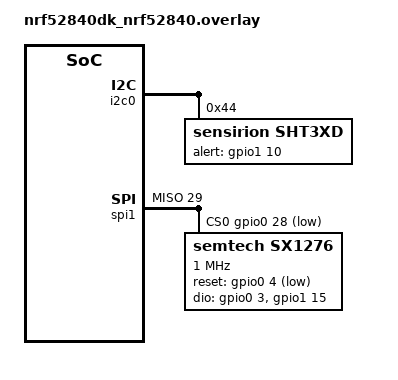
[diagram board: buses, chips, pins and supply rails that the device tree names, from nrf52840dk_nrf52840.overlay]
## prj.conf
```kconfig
#
# Copyright (c) 2019 Nordic Semiconductor ASA
#
# SPDX-License-Identifier: LicenseRef-BSD-5-Clause-Nordic
#
CONFIG_NCS_SAMPLES_DEFAULTS=y

# General configuration
CONFIG_SYSTEM_WORKQUEUE_STACK_SIZE=2048
CONFIG_FLASH=y
CONFIG_FLASH_MAP=y
#CONFIG_FCB=y
CONFIG_NVS=y
CONFIG_SETTINGS=y
CONFIG_HWINFO=y
CONFIG_LOG=y
CONFIG_LOG_PRINTK=y

CONFIG_DK_LIBRARY=y
CONFIG_BT_MESH_DK_PROV=y

# Bluetooth configuration
CONFIG_BT=y
CONFIG_BT_COMPANY_ID=0x0059
CONFIG_BT_DEVICE_NAME="LoRa Temp.Hum. Sensor"
CONFIG_BT_L2CAP_RX_MTU=69
CONFIG_BT_L2CAP_TX_MTU=69
CONFIG_BT_L2CAP_TX_BUF_COUNT=8
CONFIG_BT_LL_SW_SPLIT=y
CONFIG_BT_OBSERVER=y
CONFIG_BT_PERIPHERAL=y
CONFIG_BT_SETTINGS=y

# Disable unused Bluetooth features
CONFIG_BT_CTLR_DUP_FILTER_LEN=0
CONFIG_BT_CTLR_LE_ENC=n
CONFIG_BT_DATA_LEN_UPDATE=n
CONFIG_BT_PHY_UPDATE=n
CONFIG_BT_CTLR_CHAN_SEL_2=n
CONFIG_BT_CTLR_MIN_USED_CHAN=n
CONFIG_BT_CTLR_PRIVACY=n

# Bluetooth Mesh configuration
CONFIG_BT_MESH=y
CONFIG_BT_MESH_RELAY=y
CONFIG_BT_MESH_FRIEND=y
CONFIG_BT_MESH_LOW_POWER=n
CONFIG_BT_MESH_LPN_AUTO=n
CONFIG_BT_MESH_LPN_AUTO_TIMEOUT=5
CONFIG_BT_MESH_ADV_BUF_COUNT=13
CONFIG_BT_MESH_TX_SEG_MAX=10
CONFIG_BT_MESH_PB_GATT=y
CONFIG_BT_MESH_GATT_PROXY=n

# Bluetooth Mesh models
CONFIG_BT_MESH_SENSOR_SRV=y

# Power Managment Device
#CONFIG_PM=y
#CONFIG_PM_DEEP_SLEEP_STATES=y
#CONFIG_PM_STATE_LOCK=y
#CONFIG_SERIAL=n

# For NRF Dongle over SWD Flashing
CONFIG_BOARD_HAS_NRF5_BOOTLOADER=y

# I2C SHT3xd Sensor
CONFIG_STDOUT_CONSOLE=y
CONFIG_NEWLIB_LIBC=y
CONFIG_NEWLIB_LIBC_FLOAT_PRINTF=y
CONFIG_I2C=y
CONFIG_SENSOR=y
CONFIG_SHT3XD=y




# LoRa Stuff
CONFIG_LOG=y
CONFIG_SPI=y
CONFIG_GPIO=y
CONFIG_LORA=y
CONFIG_LORA_SX12XX=y
CONFIG_PRINTK=y
```

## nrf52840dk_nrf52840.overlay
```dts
&i2c0 { /* SDA P0.26, SCL P0.27, ALERT P1.10 */
	sht3xd@44 {
		compatible = "sensirion,sht3xd";
		reg = <0x44>;
		label = "SHT3XD";
		alert-gpios = <&gpio1 10 GPIO_ACTIVE_HIGH>;
	};
};

&spi1 {
   status = "okay";
   miso-pin = <29>;
   cs-gpios = <&gpio0 28 GPIO_ACTIVE_LOW>;

      lora: sx1276@0 {
       compatible = "semtech,sx1276";
       reg = <0>;
       label = "sx1276";
       reset-gpios = <&gpio0 4 GPIO_ACTIVE_LOW>;
       dio-gpios = <&gpio0 3 (GPIO_PULL_DOWN | GPIO_ACTIVE_HIGH)>,<&gpio1 15 (GPIO_PULL_DOWN | GPIO_ACTIVE_HIGH)>;
       spi-max-frequency = <1000000>;
       power-amplifier-output = "pa-boost";
   };

};

/ {
   aliases {
      lora0 = &lora;
 };
};
```

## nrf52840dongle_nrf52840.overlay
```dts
&i2c0 { /* SDA P0.13, SCL P0.15, ALERT P0.17 */

	sda-pin = <13>;
	scl-pin = <15>;

	sht3xd@44 {
		compatible = "sensirion,sht3xd";
		reg = <0x44>;
		label = "SHT3XD";
		alert-gpios = <&gpio0 17 GPIO_ACTIVE_HIGH>;
	};
};

&spi1 {
   status = "okay";
   	sck-pin = <47>; /* 1.15 */
	mosi-pin = <2>;
	miso-pin = <29>;
	cs-gpios = <&gpio1 13 GPIO_ACTIVE_LOW>; /* 1.13 */

      lora: sx1276@0 {
       compatible = "semtech,sx1276";
       reg = <0>;
       label = "sx1276";
       reset-gpios = <&gpio0 31 GPIO_ACTIVE_LOW>;
       dio-gpios = <&gpio1 10 (GPIO_PULL_DOWN | GPIO_ACTIVE_HIGH)>,<&gpio0 10 (GPIO_PULL_DOWN | GPIO_ACTIVE_HIGH)>;
       spi-max-frequency = <1000000>;
       power-amplifier-output = "pa-boost";
   };

};

/ {
   aliases {
      lora0 = &lora;
 };
};
```

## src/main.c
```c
#include "bm_config.h"
#include "bm_blemesh.h"
#include "bm_simple_buttons_and_leds.h"
#include "bm_sht3x.h"
#include "bm_lora.h"
#include <zephyr.h>

#include <drivers/sensor.h>

struct sensor_value temp;
struct sensor_value hum;

struct LORA_PDU
{
	double temp;
	double hum;
} __attribute__((packed)) lora_pdu; // Attribute informing compiler to pack all members to 8bits or 1byte



/**@brief Function for application main entry.
 */
void main(void)
{
  // Start Application
  printk("Starting Application...\n");
  // Init MAC Address
  uint32_t LSB_MAC_Address = NRF_FICR->DEVICEADDR[0];
  printk("Preprogrammed Randomly Static MAC-Address (LSB): 0x%x, %u \n", LSB_MAC_Address, LSB_MAC_Address);
  /* --------------- Init Board ------------*/
  printk("Init Buttons and LEDs...\n");
  bm_init_leds();
  printk("Buttons and LEDs initialized\n");
  printk("Init SHT3xd Sensor\n");
  sht3x_init();
  printk("Init LoRa\n");
  bm_lora_init();

  /* ===================================*/

  // Start Mesh Operation
  bm_blemesh_enable(); // Will return faster than the Stack is realy ready... keep on waiting in the transition.

  // Read out Sensor Values and Publish them over Lora
  while (true)
  {

   sht3x_temp_hum_get(&temp,&hum);

   lora_pdu.temp = sensor_value_to_double(&temp);
   lora_pdu.hum = sensor_value_to_double(&hum);

   bm_lora_send(&lora_pdu,sizeof(lora_pdu));

		k_sleep(K_MSEC(30000));
  }
}
```

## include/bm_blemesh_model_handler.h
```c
/*
This file is part of Bluetooth-Benchamrk.

Bluetooth-Benchamrk is free software: you can redistribute it and/or modify
it under the terms of the GNU General Public License as published by
the Free Software Foundation, either version 3 of the License, or
(at your option) any later version.

Bluetooth-Benchamrk is distributed in the hope that it will be useful,
but WITHOUT ANY WARRANTY; without even the implied warranty of
MERCHANTABILITY or FITNESS FOR A PARTICULAR PURPOSE.  See the
GNU General Public License for more details.

You should have received a copy of the GNU General Public License
along with Bluetooth-Benchamrk.  If not, see <http://www.gnu.org/licenses/>.
*/

/* AUTHOR 	 :    Raffael Anklin       */


#ifndef MODEL_HANDLER_H__
#define MODEL_HANDLER_H__



#ifdef __cplusplus
extern "C" {
#endif



const struct bt_mesh_comp *bm_blemesh_model_handler_init(void);


#ifdef __cplusplus
}
#endif

#endif /* MODEL_HANDLER_H__ */
```

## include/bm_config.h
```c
#ifdef __cplusplus
extern "C" {
#endif

#ifndef BM_CONFIG_H
#define BM_CONFIG_H

#include <stdint.h>
#include <stdbool.h>

// Change the following to switch the Protokoll Stack and SDK
//#define NRF_SDK_Zigbee
#define ZEPHYR_BLE_MESH

/* =============== Time Sync ===================== */
extern uint32_t LSB_MAC_Address; // LSB of Randomly Static Assigned MAC Address

/* =============== Benchmark Parameters ===================== */
// Change the following to switch the Protokoll Stack and SDK
//#define BENCHMARK_SERVER                 /* Node is Benchmark Server */
//#define BENCHMARK_CLIENT                 /* Node is Benchmark Client */
#define BENCHMARK_MASTER                 /* Node is Benchmark Master and automatically Time Master */
#define BENCHMARK_DEFAULT_TIME_S 10      // Default Benchmark Time (used when no Parameter available)
#define BENCHMARK_DEFAULT_PACKETS_CNT 10 // Default Benchmark Packet Count (used when no Parameter available)

typedef struct
{
  uint16_t benchmark_time_s;
  uint16_t benchmark_packet_cnt;
  uint8_t GroupAddress;
  uint8_t Node_Id;
  uint16_t AdditionalPayloadSize;
  uint32_t DestMAC_1; // Zigbee Directed Destination 1
  uint32_t DestMAC_2; // Zigbee Directed Destination 2
  uint32_t DestMAC_3; // Zigbee Directed Destination 3
  bool Ack; // 0 = Not Acknowledged / 1 = Ack
  bool benchmark_Traffic_Generation_Mode; // 0 = Random, 1 = Sequentialy
} bm_params_t;
extern bm_params_t bm_params, bm_params_buf; // The Buffer store changes while a benchmark is active. 

/* =============== Defines for Reporting ===================== */
#define NUMBER_OF_BENCHMARK_REPORT_MESSAGES 3000 /* Size of the Benchmark Reporting Array message_info */

/* =============== BLE MESH Stuff ===================== */
#define BLE_MESH_TTL 7 // Maybee optimize

/* ================= Zigbee Stuff ====================== */
#define ZBOSS_MAIN_LOOP_ITERATION_TIME_MARGIN_MS 1000 // Time Margin needed because zboss can block timecheck. note this time will be added to the Stack Init Time

#define MAX_CHILDREN 10                          /**< The maximum amount of connected devices. Setting this value to 0 disables association to this device.  */
#define IEEE_CHANNEL_MASK (1l << ZIGBEE_CHANNEL) /**< Scan only one, predefined channel to find the coordinator. */
//#define IEEE_CHANNEL_MASK                 0x07fff800U
#define HA_DIMMABLE_LIGHT_ENDPOINT 10    /**< Device endpoint, used to receive light controlling commands. */
#define ERASE_PERSISTENT_CONFIG ZB_FALSE /**< Do not erase NVRAM to save the network parameters after device reboot or power-off. */
#define BULB_PWM_NAME PWM1               /**< PWM instance used to drive dimmable light bulb. */
#define BULB_PWM_TIMER 2                 /**< Timer number used by PWM. */

/* Basic cluster attributes initial values. */
#define BULB_INIT_BASIC_APP_VERSION 01                                   /**< Version of the application software (1 byte). */
#define BULB_INIT_BASIC_STACK_VERSION 10                                 /**< Version of the implementation of the Zigbee stack (1 byte). */
#define BULB_INIT_BASIC_HW_VERSION 11                                    /**< Version of the hardware of the device (1 byte). */
#define BULB_INIT_BASIC_MANUF_NAME "Nordic"                              /**< Manufacturer name (32 bytes). */
#define BULB_INIT_BASIC_MODEL_ID "Dimable_Light_v0.1"                    /**< Model number assigned by manufacturer (32-bytes long string). */
#define BULB_INIT_BASIC_DATE_CODE "20180416"                             /**< First 8 bytes specify the date of manufacturer of the device in ISO 8601 format (YYYYMMDD). The rest (8 bytes) are manufacturer specific. */
#define BULB_INIT_BASIC_POWER_SOURCE ZB_ZCL_BASIC_POWER_SOURCE_DC_SOURCE /**< Type of power sources available for the device. For possible values see section 3.2.2.2.8 of ZCL specification. */
#define BULB_INIT_BASIC_LOCATION_DESC "Office desk"                      /**< Describes the physical location of the device (16 bytes). May be modified during commisioning process. */
#define BULB_INIT_BASIC_PH_ENV ZB_ZCL_BASIC_ENV_UNSPECIFIED              /**< Describes the type of physical environment. For possible values see section 3.2.2.2.10 of ZCL specification. */

#ifdef BOARD_PCA10059                            /**< If it is Dongle */
#define IDENTIFY_MODE_BSP_EVT BSP_EVENT_KEY_0    /**< Button event used to enter the Bulb into the Identify mode. */
#define ZIGBEE_NETWORK_STATE_LED BSP_BOARD_LED_0 /**< LED indicating that light switch successfully joind Zigbee network. */
#else
#define IDENTIFY_MODE_BSP_EVT BSP_EVENT_KEY_3    /**< Button event used to enter the Bulb into the Identify mode. */
#define ZIGBEE_NETWORK_STATE_LED BSP_BOARD_LED_2 /**< LED indicating that light switch successfully joind Zigbee network. */
#endif
#define BULB_LED BSP_BOARD_LED_3 /**< LED immitaing dimmable light bulb. */

/* Benchmark specific Definitions*/
#define GROUP_ID 0xB331                      /* Group ID which will be used to address a specific group of Benchmark Servers */
#define BENCHMARK_CLIENT_ENDPOINT 1          /* ZCL Endpoint of the Benchmark Client */
#define BENCHMARK_SERVER_ENDPOINT 10         /* ZCL Endpoint of the Benchmark Server */
#define BENCHMARK_CONTROL_ENDPOINT 11        /* ZCL Endpoint for Benchmark Control */
#define BENCHMARK_REPORTING_ENDPOINT 12      /* ZCL Endpoint for Benchmark Reporting Message */
#define NUMBER_OF_NETWORK_TIME_ELEMENTS 1000 /* Size of the Benchmark Reporting Array message_info */
#define DONGLE_BUTTON_BSP_EVT BSP_EVENT_KEY_0

#define BENCHMARK_CUSTOM_CMD_ID 0x00 /* Custom Benchmark Command ID */

#ifdef __cplusplus
}
#endif
#endif //BM_ZIGBEE_H
```

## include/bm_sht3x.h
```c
/*
This file is part of Bluetooth-Benchamrk.

Bluetooth-Benchamrk is free software: you can redistribute it and/or modify
it under the terms of the GNU General Public License as published by
the Free Software Foundation, either version 3 of the License, or
(at your option) any later version.

Bluetooth-Benchamrk is distributed in the hope that it will be useful,
but WITHOUT ANY WARRANTY; without even the implied warranty of
MERCHANTABILITY or FITNESS FOR A PARTICULAR PURPOSE.  See the
GNU General Public License for more details.

You should have received a copy of the GNU General Public License
along with Bluetooth-Benchamrk.  If not, see <http://www.gnu.org/licenses/>.
*/

/* AUTHOR 	 :    Raffael Anklin       */


#ifndef BM_SHT3X_H__
#define BM_SHT3X_H__


#include <drivers/sensor.h>

#ifdef __cplusplus
extern "C" {
#endif



void sht3x_init();

void sht3x_temp_hum_get(struct sensor_value *temp, struct sensor_value *hum);


#ifdef __cplusplus
}
#endif

#endif /* MODEL_HANDLER_H__ */
```

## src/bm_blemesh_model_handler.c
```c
/*
This file is part of Bluetooth-Benchamrk.

Bluetooth-Benchamrk is free software: you can redistribute it and/or modify
it under the terms of the GNU General Public License as published by
the Free Software Foundation, either version 3 of the License, or
(at your option) any later version.

Bluetooth-Benchamrk is distributed in the hope that it will be useful,
but WITHOUT ANY WARRANTY; without even the implied warranty of
MERCHANTABILITY or FITNESS FOR A PARTICULAR PURPOSE.  See the
GNU General Public License for more details.

You should have received a copy of the GNU General Public License
along with Bluetooth-Benchamrk.  If not, see <http://www.gnu.org/licenses/>.
*/

/* AUTHOR 	 :    Raffael Anklin       */

/* Pin Assigments: 

| Port.Pin 	| Description
|	P1.10	|	Switch ON/OFF
|	P1.13	|	Signal from Host (1=ON/0=OFF)
|	P1.15	|	Switch Pulse from Host (1s High for Active Switching)

*/

#include "bm_config.h"
#include "bm_simple_buttons_and_leds.h"
#include "bm_blemesh.h"
#include "bm_blemesh_model_handler.h"

#include "bm_sht3x.h"

#include <bluetooth/bluetooth.h>
#include <bluetooth/mesh/models.h>
#include <bluetooth/mesh/model_types.h>

#include <stdio.h>


/** Health Server definition */
static void attention_on(struct bt_mesh_model *model)
{
	printk("attention_on()\n");
}

static void attention_off(struct bt_mesh_model *model)
{
	printk("attention_off()\n");
}
static const struct bt_mesh_health_srv_cb health_srv_cb = {
	.attn_on = attention_on,
	.attn_off = attention_off,
};

static struct bt_mesh_health_srv health_srv = {
	.cb = &health_srv_cb,
};

BT_MESH_HEALTH_PUB_DEFINE(health_pub, 0);


static int rc;




static int temp_get(struct bt_mesh_sensor *sensor,
					struct bt_mesh_msg_ctx *ctx, struct sensor_value *rsp)
{
	sht3x_temp_hum_get(rsp,NULL);
	//doubleToSensorValue((double)temperature / 1000,rsp);
	return rc;
}

static int hum_get(struct bt_mesh_sensor *sensor,
					struct bt_mesh_msg_ctx *ctx, struct sensor_value *rsp)
{
	sht3x_temp_hum_get(NULL,rsp);
	//doubleToSensorValue((double)humidity / 1000,rsp);
	return rc;
}

static struct bt_mesh_sensor temp = {
	.type = &bt_mesh_sensor_present_dev_op_temp,
	.get = temp_get,
};

static struct bt_mesh_sensor hum = {
	.type = &bt_mesh_sensor_present_amb_rel_humidity,
	.get = hum_get,
};

static struct bt_mesh_sensor *const sensors[] = {
	&temp,
	&hum};

static struct bt_mesh_sensor_srv sensor_srv = BT_MESH_SENSOR_SRV_INIT(sensors, ARRAY_SIZE(sensors));

/* Define all Elements */
static struct bt_mesh_elem elements[] = {
	BT_MESH_ELEM(
		1, BT_MESH_MODEL_LIST(BT_MESH_MODEL_CFG_SRV, BT_MESH_MODEL_HEALTH_SRV(&health_srv, &health_pub), BT_MESH_MODEL_SENSOR_SRV(&sensor_srv)),
		BT_MESH_MODEL_NONE)};

/* Create Composition */
static const struct bt_mesh_comp comp = {
	.cid = CONFIG_BT_COMPANY_ID,
	.elem = elements,
	.elem_count = ARRAY_SIZE(elements),
};

const struct bt_mesh_comp *bm_blemesh_model_handler_init(void)
{
	return &comp;
}
```

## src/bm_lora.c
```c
#include <device.h>
#include <drivers/lora.h>
#include <errno.h>
#include <sys/util.h>
#include <zephyr.h>
#include <logging/log.h>
#include <sys/crc.h>

#include "bm_lora.h"

#include <stdio.h>
#include <stdlib.h>
#include <string.h>

#define DEFAULT_RADIO_NODE DT_ALIAS(lora0)
BUILD_ASSERT(DT_NODE_HAS_STATUS(DEFAULT_RADIO_NODE, okay),
             "No default LoRa radio specified in DT");
#define DEFAULT_RADIO DT_LABEL(DEFAULT_RADIO_NODE)

#define MAX_DATA_LEN 255

struct device *lora_dev;
struct lora_modem_config config;
static int ret, len;
uint8_t data[MAX_DATA_LEN] = {0};
int16_t rssi;
int8_t snr;

void bm_lora_init()
{

    lora_dev = device_get_binding(DEFAULT_RADIO);
    if (!lora_dev)
    {
        printk("%s Device not found\n", DEFAULT_RADIO);
        return;
    }

    config.frequency = 865100000;
    config.bandwidth = BW_125_KHZ;
    config.datarate = SF_10;
    config.preamble_len = 8;
    config.coding_rate = CR_4_5;
    config.tx_power = 4;
    config.tx = true;

    ret = lora_config(lora_dev, &config);
    if (ret < 0)
    {
        printk("LoRa config failed\n");
        return;
    }
}

void bm_lora_send(uint8_t *data, uint32_t data_len)
{
    if (lora_dev == NULL)
    {
        printk("Could not get LoRa device\n");
        return;
    }

    //Prepare Device for Sending
    config.tx_power = 4;
    config.tx = true;

    ret = lora_config(lora_dev, &config);
    if (ret < 0)
    {
        printk("LoRa config failed\n");
        return;
    }

    // Calc CRC
    uint16_t crc;
    crc = crc16_ccitt(0, data, (size_t)data_len);
    // Append CRC
    uint8_t *data_crc = malloc((size_t)data_len + sizeof(crc)); // array to hold the result
    memcpy(data_crc, data, (size_t)data_len);                   // copy data
    memcpy(data_crc + (size_t)data_len, crc, sizeof(crc));      // copy crc

    ret = lora_send(lora_dev, data_crc, (size_t)data_len + sizeof(crc));
    if (ret < 0)
    {
        printk("LoRa send failed\n");
        return;
    }

    printk("Data sent!\n");
}

uint32_t bm_lora_recv(uint8_t *data)
{
    if (lora_dev == NULL)
    {
        printk("Could not get LoRa device\n");
        return 0;
    }

    //Prepare Device for Receiving
    config.tx_power = 14;
    config.tx = false;

    ret = lora_config(lora_dev, &config);
    if (ret < 0)
    {
        printk("LoRa config failed\n");
        return 0;
    }
    /* Block until data arrives */
    len = lora_recv(lora_dev, data, MAX_DATA_LEN, K_FOREVER,
                    &rssi, &snr);
    if (len < 0)
    {
        printk("LoRa receive failed\n");
        return 0;
    }
    /* Decode CRC */

    printk("Received data: %s (RSSI:%ddBm, SNR:%ddBm)\n",
           log_strdup(data), rssi, snr);
    return len;
}
```

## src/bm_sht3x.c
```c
#include <zephyr.h>
#include <device.h>
#include <drivers/sensor.h>
#include <stdio.h>

#include "bm_sht3x.h"

int rc;
struct device *dev;

void sht3x_init()
{

    dev = device_get_binding("SHT3XD");

    if (dev == NULL)
    {
        printf("Could not get SHT3XD device\n");
        return;
    }
}

void sht3x_temp_hum_get(struct sensor_value *temp, struct sensor_value *hum)
{
    if (dev == NULL)
    {
        printf("Could not get SHT3XD device\n");
        return;
    }
    if (rc == 0 && temp != NULL)
    {
        rc = sensor_sample_fetch(dev); //Only Fetch When Temperatur is Requested -> BT Mesh Model will always first get Temperatur
        rc = sensor_channel_get(dev, SENSOR_CHAN_AMBIENT_TEMP,
                                temp);
        printf("SHT3XD: %.2f Cel\n",
               sensor_value_to_double(temp));
    }
    if (rc == 0 && hum != NULL)
    {
        rc = sensor_channel_get(dev, SENSOR_CHAN_HUMIDITY,
                                hum);
        printf("SHT3XD: %0.2f %%RH\n",
               sensor_value_to_double(hum));
    }
    if (rc != 0)
    {
        printf("SHT3XD: failed: %d\n", rc);
    }
}
```
